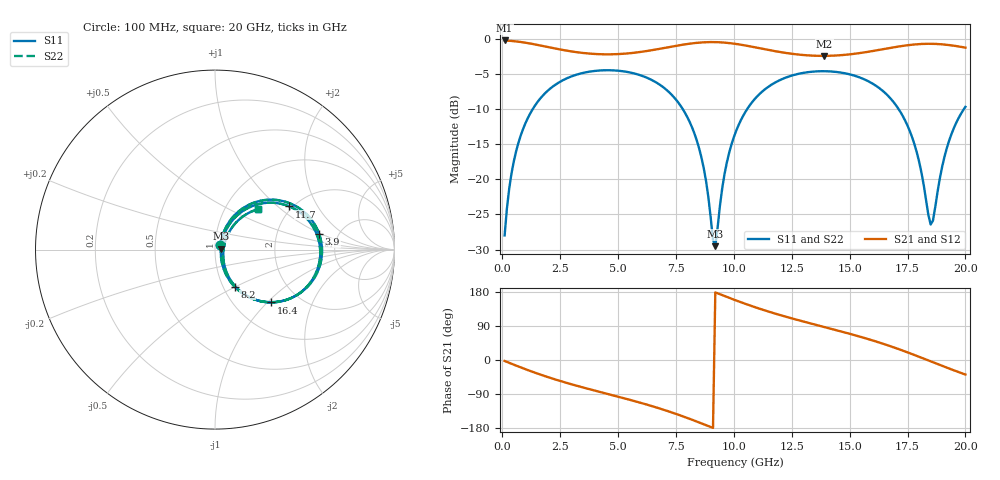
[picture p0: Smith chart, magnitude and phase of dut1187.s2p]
! Touchstone file exported from HFSS 2026.1.0
!  File:  C:/ffzhzh/LocalFiles/Ansys_Project_Files/temp_train_TSV_RDL_1187_1783316706_5512.aedt
!  Generated:  01:57:23 PM Jul  6, 2026
!  Design:  TSV_RDL
!  Project:  temp_train_TSV_RDL_1187_1783316706_5512
! Variables:
!  h_bsmrdl = 3.69um
!  h_ox = 20um
!  h_rdl = 5um
!  h_sub = 71.42um
!  h_tmrdl = 5.74um
!  h_tsv = 71.42um
!  h_via = 3um
!  l_bsmrdl = 954.72um
!  l_sub = 6807.32um
!  l_tmrdl = 858.61um
!  m_sub = 200um
!  pitch = 53.04um
!  r_tsv = 12.4um
!  s_tmrdl = 10um
!  w_bsmrdl = 14.82um
!  w_sub = 500um
!  w_tmrdl = 21.42um
!  x_tsv_center1 = 869.32um
!  x_tsv_center2 = 1838.86um
!  x_tsv_center3 = 2718.89um
!  x_tsv_center4 = 3688.43um
!  x_tsv_center5 = 4568.46um
!  x_tsv_center6 = 5538um
# GHz S MA R 50.000000
! Terminal data exported
! Port[1] = TM_RDL1_1_T1
! Port[2] = TM_RDL5_1_T1
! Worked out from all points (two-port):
!   200 points, 100 MHz to 20 GHz, reference 50 ohm
!   highest |S21| = -0.26 dB at 100 MHz (marker M1); lowest = -2.4 dB at 13.9 GHz (marker M2)
!   |S21| within 3 dB of the highest: start of sweep to end of sweep
!   lowest |S11| = -29.5 dB at 9.2 GHz (marker M3), VSWR 1.07, Z = 53.4 + j0.537 ohm
!   |S11| at or under -10 dB: start of sweep to 1.318 GHz; 7.79 GHz to 10.58 GHz (2.79 GHz wide, 30.4 % of centre); 17.11 GHz to 19.94 GHz (2.827 GHz wide, 15.3 % of centre)
!   |S22| runs from -29.6 to -4.5 dB; largest |S21 - S12| = 1.6e-14
!   S11 on the Smith chart (normalised r, x): 100 MHz: 1.06, +0.06; 3.9 GHz: 3.57, +0.94; 8.2 GHz: 1.13, -0.49; 11.7 GHz: 1.92, +1.20; 16.4 GHz: 1.46, -1.05; 20 GHz: 1.42, +0.71
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0.1  0.03985 41.4  0.9709 -2.6  0.9709 -2.6  0.03985 41.4
! Gamma 0 0 0 0
! Port Impedance 50 0 50 0
0.5  0.1348 63.9  0.9597 -12.4  0.9597 -12.4  0.1348 63.9
1.1  0.2719 56.5  0.9299 -26.6  0.9299 -26.6  0.2719 56.5
2.2  0.4588 36.4  0.8565 -49.7  0.8565 -49.7  0.4588 36.4
3.5  0.5712 14.7  0.7906 -72.7  0.7906 -72.7  0.5712 14.7
3.9  0.5869 8.5  0.78 -79.2  0.78 -79.2  0.5869 8.5
5.3  0.5834 -12.9  0.7824 -101.6  0.7824 -101.6  0.5834 -12.9
6.8  0.4706 -37.5  0.8468 -128.0  0.8468 -128.0  0.4706 -37.5
8.2  0.2328 -62.2  0.9259 -157.7  0.9259 -157.7  0.2328 -62.2
8.7  0.12 -65.9  0.942 -169.5  0.942 -169.5  0.1199 -66.0
9.2  0.03344 8.6  0.945 178.4  0.945 178.4  0.03313 8.6
9.6  0.1094 59.9  0.9373 168.8  0.9373 168.8  0.1092 60.0
10.1  0.2209 57.4  0.9168 157.1  0.9168 157.1  0.2208 57.5
11.7  0.4789 30.2  0.8194 124.0  0.8194 124.0  0.4788 30.2
13.4  0.5825 3.5  0.7573 95.1  0.7573 95.1  0.5824 3.5
13.9  0.5868 -4.0  0.7543 87.2  0.7543 87.2  0.5868 -4.0
16.4  0.4295 -43.2  0.8389 43.8  0.8389 43.8  0.4294 -43.3
16.7  0.386 -48.3  0.8562 37.7  0.8562 37.7  0.3859 -48.4
17.8  0.1773 -63.3  0.9092 13.2  0.9092 13.2  0.1772 -63.4
18.5  0.04767 -11.7  0.9195 -3.5  0.9195 -3.5  0.04726 -11.7
19.2  0.1671 52.5  0.9042 -20.3  0.9042 -20.3  0.167 52.6
20  0.3274 43.3  0.8634 -38.3  0.8634 -38.3  0.3274 43.3
